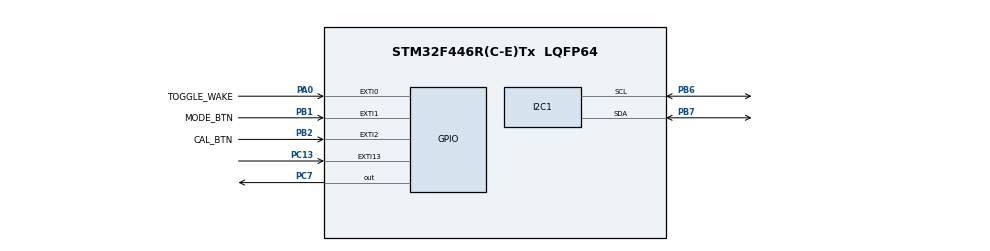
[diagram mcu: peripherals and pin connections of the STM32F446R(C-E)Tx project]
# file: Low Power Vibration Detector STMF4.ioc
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Mcu.Family=STM32F4
Mcu.Name=STM32F446R(C-E)Tx
Mcu.Package=LQFP64
NVIC.EXTI0_IRQn=true\:0\:0\:false\:false\:true\:true\:true\:true
NVIC.EXTI1_IRQn=true\:0\:0\:false\:false\:true\:true\:true\:true
NVIC.EXTI2_IRQn=true\:0\:0\:false\:false\:true\:true\:true\:true
NVIC.PriorityGroup=NVIC_PRIORITYGROUP_4
NVIC.RTC_WKUP_IRQn=true\:0\:0\:false\:false\:true\:true\:true\:true
PA0-WKUP.GPIO_Label=TOGGLE_WAKE
PA0-WKUP.GPIO_PuPd=GPIO_PULLDOWN
PA0-WKUP.Signal=GPXTI0
PA13.Mode=Serial_Wire
PA13.Signal=SYS_JTMS-SWDIO
PA14.Mode=Serial_Wire
PA14.Signal=SYS_JTCK-SWCLK
PB1.GPIO_Label=MODE_BTN
PB1.GPIO_ModeDefaultEXTI=GPIO_MODE_IT_RISING
PB1.GPIO_PuPd=GPIO_PULLDOWN
PB1.Signal=GPXTI1
PB2.GPIO_Label=CAL_BTN
PB2.GPIO_ModeDefaultEXTI=GPIO_MODE_IT_RISING
PB2.GPIO_PuPd=GPIO_PULLDOWN
PB2.Signal=GPXTI2
PB6.Mode=I2C
PB6.Signal=I2C1_SCL
PB7.Mode=I2C
PB7.Signal=I2C1_SDA
PC13.Signal=GPXTI13
PC7.Signal=GPIO_Output
ProjectManager.HeapSize=0x200
ProjectManager.StackSize=0x400
ProjectManager.TargetToolchain=STM32CubeIDE
RCC.CortexFreq_Value=16000000
RCC.USBFreq_Value=96000000
RCC.VCOOutputFreq_Value=192000000
VP_RTC_VS_RTC_Activate.Mode=RTC_Enabled
VP_RTC_VS_RTC_Calendar.Mode=RTC_Calendar
VP_RTC_VS_RTC_WakeUp_intern.Mode=WakeUp
board=custom

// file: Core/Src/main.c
/* USER CODE BEGIN Header */
/**
  ******************************************************************************
  * @file           : main.c
  * @brief          : Main program body
  ******************************************************************************
  * @attention
  *
  * Copyright (c) 2026 STMicroelectronics.
  * All rights reserved.
  *
  * This software is licensed under terms that can be found in the LICENSE file
  * in the root directory of this software component.
  * If no LICENSE file comes with this software, it is provided AS-IS.
  *
  ******************************************************************************
  */
/* USER CODE END Header */
#include "main.h"

/* USER CODE BEGIN Includes */
#include "acquisition.h"
#include "config.h"

#include <stdio.h>
/* USER CODE END Includes */

I2C_HandleTypeDef hi2c1;

RTC_HandleTypeDef hrtc;

void SystemClock_Config(void);
static void MX_GPIO_Init(void);
static void MX_I2C1_Init(void);
static void MX_RTC_Init(void);

/* USER CODE BEGIN 0 */
SystemConfig sys_cfg = { 0 };
MPU6050 mpu = {
	.hi2c = &hi2c1,
	.addr = MPU_ADDR
};

static volatile uint8_t wake_by_rtc		 = 0;
static volatile uint8_t wake_by_cal_btn  = 0;
static volatile uint8_t wake_by_mode_btn = 0;

void HAL_RTCEx_WakeUpTimerEventCallback(RTC_HandleTypeDef *hrtc) {
	wake_by_rtc = 1;
}

void HAL_GPIO_EXTI_Callback(uint16_t GPIO_Pin) {
	if (GPIO_Pin == CAL_BTN_Pin)  wake_by_cal_btn  = 1;
	if (GPIO_Pin == MODE_BTN_Pin) wake_by_mode_btn = 1;
}

void evaluate_alarm(VibrationReading vibration) {

	if (vibration.rms_total > sys_cfg.rms_alarm_thresh) {
		HAL_GPIO_WritePin(GPIOC, GPIO_PIN_7, GPIO_PIN_RESET);
		HAL_Delay(0xFFFFFFFF);
	}
}

void task_recalibrate() {
	VibrationReading vibration = acquisition_task(&mpu);
	sys_cfg.rms_baseline = vibration.rms_total;
	Config_Apply_Mode(&sys_cfg);
	Config_Save(&sys_cfg);

	for (int i = 0; i < 4; i++) {
		HAL_GPIO_TogglePin(GPIOC, GPIO_PIN_7);
		HAL_Delay(100);
	}
}

void handle_mode_change(void) {
    sys_cfg.current_mode = (sys_cfg.current_mode + 1) % MODE_COUNT;
    Config_Apply_Mode(&sys_cfg);
    Config_Save(&sys_cfg);

    // 1 blink  = Default    (1.5x)
    // 2 blinks = Tolerant   (2.0x)
    // 3 blinks = Heavy Duty (2.5x)
    HAL_Delay(300);
    for (int i = 0; i <= sys_cfg.current_mode; i++) {
        HAL_GPIO_WritePin(GPIOC, GPIO_PIN_7, GPIO_PIN_RESET);
        HAL_Delay(250);
        HAL_GPIO_WritePin(GPIOC, GPIO_PIN_7, GPIO_PIN_SET);
        HAL_Delay(350);
    }
}

void config_mode_task(void) {
    for (int i = 0; i < 4; i++) {
        HAL_GPIO_TogglePin(GPIOC, GPIO_PIN_7);
        HAL_Delay(150);
    }

    while (HAL_GPIO_ReadPin(GPIOA, GPIO_PIN_0) == GPIO_PIN_SET) {
        if (wake_by_cal_btn) {
            wake_by_cal_btn = 0;
            task_recalibrate();
        }

        if (wake_by_mode_btn) {
            wake_by_mode_btn = 0;
            handle_mode_change();
        }

        HAL_Delay(50);
    }

    for (int i = 0; i < 2; i++) {
        HAL_GPIO_TogglePin(GPIOC, GPIO_PIN_7);
        HAL_Delay(300);
    }
}
/* USER CODE END 0 */

int main(void) {
    __HAL_RCC_PWR_CLK_ENABLE();
    uint8_t woke_from_standby = __HAL_PWR_GET_FLAG(PWR_FLAG_SB);
    uint8_t woke_from_pin     = __HAL_PWR_GET_FLAG(PWR_FLAG_WU);
    __HAL_PWR_CLEAR_FLAG(PWR_FLAG_SB);
    __HAL_PWR_CLEAR_FLAG(PWR_FLAG_WU);

    HAL_Init();
    SystemClock_Config();
    MX_GPIO_Init();
    MX_I2C1_Init();
    MX_RTC_Init();

    Config_Load(&sys_cfg);
    CoreDebug->DEMCR |= CoreDebug_DEMCR_TRCENA_Msk;
    DWT->CTRL        |= DWT_CTRL_CYCCNTENA_Msk;

    woke_from_pin = woke_from_pin && (HAL_GPIO_ReadPin(TOGGLE_WAKE_GPIO_Port, TOGGLE_WAKE_Pin) == GPIO_PIN_SET);
    uint8_t woke_from_rtc = woke_from_standby && __HAL_RTC_WAKEUPTIMER_GET_FLAG(&hrtc, RTC_FLAG_WUTF);
    __HAL_RTC_WAKEUPTIMER_CLEAR_FLAG(&hrtc, RTC_FLAG_WUTF);

    if (woke_from_standby) {
        if (woke_from_rtc && !woke_from_pin) {
            VibrationReading vibration = acquisition_task(&mpu);
            evaluate_alarm(vibration);
        } else if (woke_from_pin) {
            config_mode_task();
        }
    }

    HAL_RTCEx_DeactivateWakeUpTimer(&hrtc);
    __HAL_RTC_WAKEUPTIMER_CLEAR_FLAG(&hrtc, RTC_FLAG_WUTF);
    __HAL_RTC_WAKEUPTIMER_EXTI_CLEAR_FLAG();

    if (HAL_RTCEx_SetWakeUpTimer_IT(&hrtc, 10, RTC_WAKEUPCLOCK_CK_SPRE_16BITS) != HAL_OK) {
        Error_Handler();
    }

    mpu_sleep(&mpu);
    HAL_PWR_EnableWakeUpPin(PWR_WAKEUP_PIN1);
    __HAL_PWR_CLEAR_FLAG(PWR_FLAG_WU);
    HAL_SuspendTick();
    HAL_PWR_EnterSTANDBYMode();
}

void SystemClock_Config(void)
{
  RCC_OscInitTypeDef RCC_OscInitStruct = {0};
  RCC_ClkInitTypeDef RCC_ClkInitStruct = {0};

  /** Configure the main internal regulator output voltage
  */
  __HAL_RCC_PWR_CLK_ENABLE();
  __HAL_PWR_VOLTAGESCALING_CONFIG(PWR_REGULATOR_VOLTAGE_SCALE3);

  /** Initializes the RCC Oscillators according to the specified parameters
  * in the RCC_OscInitTypeDef structure.
  */
  RCC_OscInitStruct.OscillatorType = RCC_OSCILLATORTYPE_HSI|RCC_OSCILLATORTYPE_LSI;
  RCC_OscInitStruct.LSEState = RCC_LSE_OFF;
  RCC_OscInitStruct.HSIState = RCC_HSI_ON;
  RCC_OscInitStruct.HSICalibrationValue = RCC_HSICALIBRATION_DEFAULT;
  RCC_OscInitStruct.LSIState = RCC_LSI_ON;
  RCC_OscInitStruct.PLL.PLLState = RCC_PLL_NONE;
  if (HAL_RCC_OscConfig(&RCC_OscInitStruct) != HAL_OK)
  {
    Error_Handler();
  }

  /** Initializes the CPU, AHB and APB buses clocks
  */
  RCC_ClkInitStruct.ClockType = RCC_CLOCKTYPE_HCLK|RCC_CLOCKTYPE_SYSCLK
                              |RCC_CLOCKTYPE_PCLK1|RCC_CLOCKTYPE_PCLK2;
  RCC_ClkInitStruct.SYSCLKSource = RCC_SYSCLKSOURCE_HSI;
  RCC_ClkInitStruct.AHBCLKDivider = RCC_SYSCLK_DIV1;
  RCC_ClkInitStruct.APB1CLKDivider = RCC_HCLK_DIV1;
  RCC_ClkInitStruct.APB2CLKDivider = RCC_HCLK_DIV1;

  if (HAL_RCC_ClockConfig(&RCC_ClkInitStruct, FLASH_LATENCY_0) != HAL_OK)
  {
    Error_Handler();
  }
}

static void MX_I2C1_Init(void)
{

  hi2c1.Instance = I2C1;
  hi2c1.Init.ClockSpeed = 100000;
  hi2c1.Init.DutyCycle = I2C_DUTYCYCLE_2;
  hi2c1.Init.OwnAddress1 = 0;
  hi2c1.Init.AddressingMode = I2C_ADDRESSINGMODE_7BIT;
  hi2c1.Init.DualAddressMode = I2C_DUALADDRESS_DISABLE;
  hi2c1.Init.OwnAddress2 = 0;
  hi2c1.Init.GeneralCallMode = I2C_GENERALCALL_DISABLE;
  hi2c1.Init.NoStretchMode = I2C_NOSTRETCH_DISABLE;
  if (HAL_I2C_Init(&hi2c1) != HAL_OK)
  {
    Error_Handler();
  }

}

static void MX_RTC_Init(void)
{
    hrtc.Instance = RTC;
    hrtc.Init.HourFormat = RTC_HOURFORMAT_24;
    hrtc.Init.AsynchPrediv = 127;
    hrtc.Init.SynchPrediv = 255;
    hrtc.Init.OutPut = RTC_OUTPUT_DISABLE;
    hrtc.Init.OutPutPolarity = RTC_OUTPUT_POLARITY_HIGH;
    hrtc.Init.OutPutType = RTC_OUTPUT_TYPE_OPENDRAIN;

    /* USER CODE BEGIN RTC_Init 0 */
    // Guard must be before HAL_RTC_Init — backup domain survives Standby
    // but HAL_RTC_Init can reset it if clock source changes
    if (HAL_RTCEx_BKUPRead(&hrtc, RTC_BKP_DR0) == 0xBEEF) {
        // Re-init handle only, don't touch time/date/wakeup timer
        if (HAL_RTC_Init(&hrtc) != HAL_OK) {
            Error_Handler();
        }
        return;
    }
    /* USER CODE END RTC_Init 0 */

    if (HAL_RTC_Init(&hrtc) != HAL_OK) {
        Error_Handler();
    }

    // Cold boot only from here
    RTC_TimeTypeDef sTime = {0};
    RTC_DateTypeDef sDate = {0};

    sTime.Hours   = 0x0;
    sTime.Minutes = 0x0;
    sTime.Seconds = 0x0;
    sTime.DayLightSaving  = RTC_DAYLIGHTSAVING_NONE;
    sTime.StoreOperation  = RTC_STOREOPERATION_RESET;
    if (HAL_RTC_SetTime(&hrtc, &sTime, RTC_FORMAT_BCD) != HAL_OK) {
        Error_Handler();
    }

    sDate.WeekDay = RTC_WEEKDAY_MONDAY;
    sDate.Month   = RTC_MONTH_JANUARY;
    sDate.Date    = 0x1;
    sDate.Year    = 0x0;
    if (HAL_RTC_SetDate(&hrtc, &sDate, RTC_FORMAT_BCD) != HAL_OK) {
        Error_Handler();
    }

    // Don't arm wakeup timer here — main() does it with correct values
    // HAL_RTCEx_SetWakeUpTimer_IT(&hrtc, 0, ...) ← remove this entirely

    /* USER CODE BEGIN RTC_Init 2 */
    HAL_RTCEx_BKUPWrite(&hrtc, RTC_BKP_DR0, 0xBEEF);
    /* USER CODE END RTC_Init 2 */
}
//static void MX_RTC_Init(void)
//{
//
//  /* USER CODE BEGIN RTC_Init 0 */
//
//  /* USER CODE END RTC_Init 0 */
//
//  RTC_TimeTypeDef sTime = {0};
//  RTC_DateTypeDef sDate = {0};
//
//  /* USER CODE BEGIN RTC_Init 1 */
//
//  /* USER CODE END RTC_Init 1 */
//
//  /** Initialize RTC Only
//  */
//  hrtc.Instance = RTC;
//  hrtc.Init.HourFormat = RTC_HOURFORMAT_24;
//  hrtc.Init.AsynchPrediv = 127;
//  hrtc.Init.SynchPrediv = 255;
//  hrtc.Init.OutPut = RTC_OUTPUT_DISABLE;
//  hrtc.Init.OutPutPolarity = RTC_OUTPUT_POLARITY_HIGH;
//  hrtc.Init.OutPutType = RTC_OUTPUT_TYPE_OPENDRAIN;
//  if (HAL_RTC_Init(&hrtc) != HAL_OK)
//  {
//    Error_Handler();
//  }
//
//  /* USER CODE BEGIN Check_RTC_BKUP */
//  if (HAL_RTCEx_BKUPRead(&hrtc, RTC_BKP_DR0) == 0xBEEF) {
//      // Wakeup from Standby — RTC already configured, skip everything
//      return;
//  }
//  /* USER CODE END Check_RTC_BKUP */
//
//  /** Initialize RTC and set the Time and Date
//  */
//  sTime.Hours = 0x0;
//  sTime.Minutes = 0x0;
//  sTime.Seconds = 0x0;
//  sTime.DayLightSaving = RTC_DAYLIGHTSAVING_NONE;
//  sTime.StoreOperation = RTC_STOREOPERATION_RESET;
//  if (HAL_RTC_SetTime(&hrtc, &sTime, RTC_FORMAT_BCD) != HAL_OK)
//  {
//    Error_Handler();
//  }
//  sDate.WeekDay = RTC_WEEKDAY_MONDAY;
//  sDate.Month = RTC_MONTH_JANUARY;
//  sDate.Date = 0x1;
//  sDate.Year = 0x0;
//
//  if (HAL_RTC_SetDate(&hrtc, &sDate, RTC_FORMAT_BCD) != HAL_OK)
//  {
//    Error_Handler();
//  }
//
//  /** Enable the WakeUp
//  */
//  if (HAL_RTCEx_SetWakeUpTimer_IT(&hrtc, 0, RTC_WAKEUPCLOCK_RTCCLK_DIV16) != HAL_OK)
//  {
//    Error_Handler();
//  }
//  /* USER CODE BEGIN RTC_Init 2 */
//  HAL_RTCEx_BKUPWrite(&hrtc, RTC_BKP_DR0, 0xBEEF);
//  /* USER CODE END RTC_Init 2 */
//
//}

static void MX_GPIO_Init(void)
{
  GPIO_InitTypeDef GPIO_InitStruct = {0};

  /* GPIO Ports Clock Enable */
  __HAL_RCC_GPIOC_CLK_ENABLE();
  __HAL_RCC_GPIOA_CLK_ENABLE();
  __HAL_RCC_GPIOB_CLK_ENABLE();

  /*Configure GPIO pin Output Level */
  HAL_GPIO_WritePin(GPIOC, GPIO_PIN_7, GPIO_PIN_SET);

  /*Configure GPIO pin : PC13 */
  GPIO_InitStruct.Pin = GPIO_PIN_13;
  GPIO_InitStruct.Mode = GPIO_MODE_IT_RISING;
  GPIO_InitStruct.Pull = GPIO_NOPULL;
  HAL_GPIO_Init(GPIOC, &GPIO_InitStruct);

  /*Configure GPIO pin : TOGGLE_WAKE_Pin */
  GPIO_InitStruct.Pin = TOGGLE_WAKE_Pin;
  GPIO_InitStruct.Mode = GPIO_MODE_IT_RISING;
  GPIO_InitStruct.Pull = GPIO_PULLDOWN;
  HAL_GPIO_Init(TOGGLE_WAKE_GPIO_Port, &GPIO_InitStruct);

  /*Configure GPIO pins : MODE_BTN_Pin CAL_BTN_Pin */
  GPIO_InitStruct.Pin = MODE_BTN_Pin|CAL_BTN_Pin;
  GPIO_InitStruct.Mode = GPIO_MODE_IT_RISING;
  GPIO_InitStruct.Pull = GPIO_PULLDOWN;
  HAL_GPIO_Init(GPIOB, &GPIO_InitStruct);

  /*Configure GPIO pin : PC7 */
  GPIO_InitStruct.Pin = GPIO_PIN_7;
  GPIO_InitStruct.Mode = GPIO_MODE_OUTPUT_PP;
  GPIO_InitStruct.Pull = GPIO_NOPULL;
  GPIO_InitStruct.Speed = GPIO_SPEED_FREQ_LOW;
  HAL_GPIO_Init(GPIOC, &GPIO_InitStruct);

  /* EXTI interrupt init*/
  HAL_NVIC_SetPriority(EXTI0_IRQn, 0, 0);
  HAL_NVIC_EnableIRQ(EXTI0_IRQn);

  HAL_NVIC_SetPriority(EXTI1_IRQn, 0, 0);
  HAL_NVIC_EnableIRQ(EXTI1_IRQn);

  HAL_NVIC_SetPriority(EXTI2_IRQn, 0, 0);
  HAL_NVIC_EnableIRQ(EXTI2_IRQn);

}

void Error_Handler(void)
{
  __disable_irq();
  while (1)
  {
  }
}
